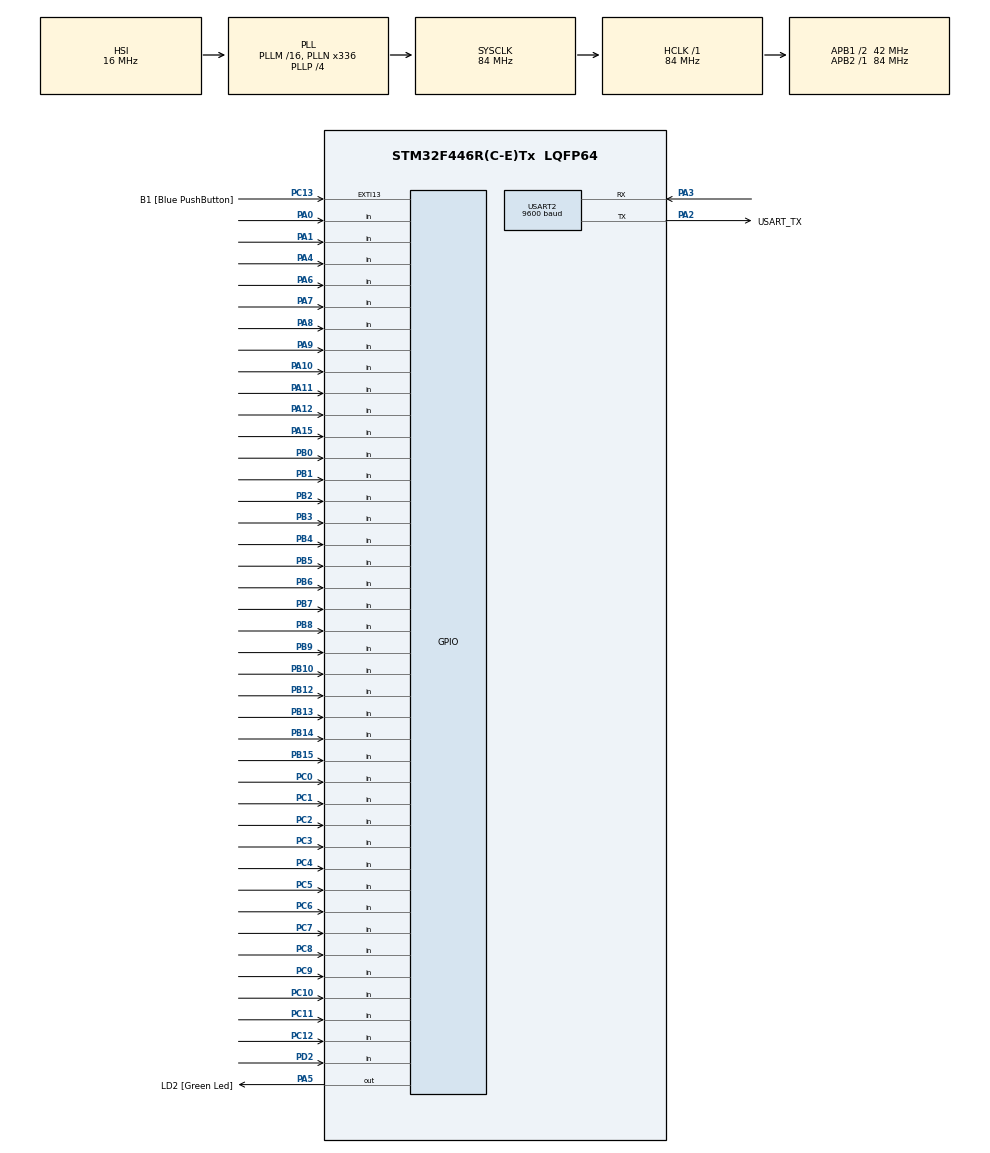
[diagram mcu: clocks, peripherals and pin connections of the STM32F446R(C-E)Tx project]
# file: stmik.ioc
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Mcu.Family=STM32F4
Mcu.Name=STM32F446R(C-E)Tx
Mcu.Package=LQFP64
NVIC.PriorityGroup=NVIC_PRIORITYGROUP_0
NVIC.USART2_IRQn=true\:0\:0\:false\:false\:true\:true\:true
PA0-WKUP.Signal=GPIO_Input
PA1.Signal=GPIO_Input
PA10.Signal=GPIO_Input
PA11.Signal=GPIO_Input
PA12.Signal=GPIO_Input
PA13.GPIO_Label=TMS
PA13.Signal=SYS_JTMS-SWDIO
PA14.GPIO_Label=TCK
PA14.Signal=SYS_JTCK-SWCLK
PA15.Signal=GPIO_Input
PA2.GPIO_Label=USART_TX
PA2.Mode=Asynchronous
PA2.Signal=USART2_TX
PA3.Mode=Asynchronous
PA3.Signal=USART2_RX
PA4.Signal=GPIO_Input
PA5.GPIO_Label=LD2 [Green Led]
PA5.Signal=GPIO_Output
PA6.Signal=GPIO_Input
PA7.Signal=GPIO_Input
PA8.Signal=GPIO_Input
PA9.Signal=GPIO_Input
PB0.Signal=GPIO_Input
PB1.Signal=GPIO_Input
PB10.Signal=GPIO_Input
PB12.Signal=GPIO_Input
PB13.Signal=GPIO_Input
PB14.Signal=GPIO_Input
PB15.Signal=GPIO_Input
PB2.Signal=GPIO_Input
PB3.Signal=GPIO_Input
PB4.Signal=GPIO_Input
PB5.Signal=GPIO_Input
PB6.Signal=GPIO_Input
PB7.Signal=GPIO_Input
PB8.Signal=GPIO_Input
PB9.Signal=GPIO_Input
PC0.Signal=GPIO_Input
PC1.Signal=GPIO_Input
PC10.Signal=GPIO_Input
PC11.Signal=GPIO_Input
PC12.Signal=GPIO_Input
PC13.GPIO_Label=B1 [Blue PushButton]
PC13.GPIO_ModeDefaultEXTI=GPIO_MODE_IT_FALLING
PC13.Signal=GPXTI13
PC14-OSC32_IN.Signal=RCC_OSC32_IN
PC15-OSC32_OUT.Signal=RCC_OSC32_OUT
PC2.Signal=GPIO_Input
PC3.Signal=GPIO_Input
PC4.Signal=GPIO_Input
PC5.Signal=GPIO_Input
PC6.Signal=GPIO_Input
PC7.Signal=GPIO_Input
PC8.Signal=GPIO_Input
PC9.Signal=GPIO_Input
PD2.Signal=GPIO_Input
PH0-OSC_IN.Signal=RCC_OSC_IN
PH1-OSC_OUT.Signal=RCC_OSC_OUT
ProjectManager.HeapSize=0x200
ProjectManager.StackSize=0x400
ProjectManager.TargetToolchain=STM32CubeIDE
RCC.AHBFreq_Value=84000000
RCC.APB1CLKDivider=RCC_HCLK_DIV2
RCC.APB1Freq_Value=42000000
RCC.APB1TimFreq_Value=84000000
RCC.APB2Freq_Value=84000000
RCC.APB2TimFreq_Value=84000000
RCC.CortexFreq_Value=84000000
RCC.FLatency-AdvancedSettings=FLASH_LATENCY_2
RCC.HCLKFreq_Value=84000000
RCC.HSE_VALUE=8000000
RCC.HSI_VALUE=16000000
RCC.LSE_VALUE=32768
RCC.PLLN=336
RCC.PLLP=RCC_PLLP_DIV4
RCC.SYSCLKFreq_VALUE=84000000
RCC.SYSCLKSource=RCC_SYSCLKSOURCE_PLLCLK
RCC.USBFreq_Value=168000000
RCC.VCOOutputFreq_Value=336000000
USART2.BaudRate=9600
USART2.VirtualMode=VM_ASYNC
board=NUCLEO-F446RE

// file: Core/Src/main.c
/* USER CODE BEGIN Header */
/**
  ******************************************************************************
  * @file           : main.c
  * @brief          : Main program body
  ******************************************************************************
  * @attention
  *
  * <h2><center>&copy; Copyright (c) 2021 STMicroelectronics.
  * All rights reserved.</center></h2>
  *
  * This software component is licensed by ST under BSD 3-Clause license,
  * the "License"; You may not use this file except in compliance with the
  * License. You may obtain a copy of the License at:
  *                        opensource.org/licenses/BSD-3-Clause
  *
  ******************************************************************************
  */
/* USER CODE END Header */
#include "main.h"
#include "usart.h"
#include "gpio.h"

/* USER CODE BEGIN Includes */
#include "receive.h"
#include "send.h"
#include "gpio.h"
#include "readPort.h"
#include <string.h>
#include <stdlib.h>
/* USER CODE END Includes */

/* USER CODE BEGIN PV */
//uint8_t buffer[4] = "hej3";
uint8_t Rx_data[4];
uint8_t Tx_data[4];
char * option;
char * result;
char  tmp[10];
int tmp2;
/* USER CODE END PV */

void SystemClock_Config(void);
/* USER CODE BEGIN PFP */

//static UART_HandleTypeDef s_UARTHandle = UART_HandleTypeDef();
/* USER CODE END PFP */

int main(void)
{
  /* USER CODE BEGIN 1 */
//receive();
//send();
  /* USER CODE END 1 */

  /* MCU Configuration--------------------------------------------------------*/

  /* Reset of all peripherals, Initializes the Flash interface and the Systick. */
  HAL_Init();

  /* USER CODE BEGIN Init */

  void HAL_UART_RxCpltCallback(UART_HandleTypeDef *huart)
  {
    HAL_UART_Receive_IT(&huart2, Rx_data, 4);
  }

  /* USER CODE END Init */

  /* Configure the system clock */
  SystemClock_Config();

  /* Initialize all configured peripherals */
  MX_GPIO_Init();
  MX_USART2_UART_Init();

  /* Infinite loop */
  /* USER CODE BEGIN WHILE */
  while (1)
  {
	 /* tmp[0] = HAL_GPIO_ReadPin(GPIOA, GPIO_PIN_10) ? '1' : '0';

	  	  		if (tmp[0] == 1) {
	  	  					HAL_GPIO_WritePin(GPIOA, GPIO_PIN_5, GPIO_PIN_SET);
	  	  				} else {
	  	  					HAL_GPIO_WritePin(GPIOA, GPIO_PIN_5, GPIO_PIN_RESET);
	  	  				}

	  	  HAL_UART_Transmit(&huart2, tmp, 1, 100);
	  	  memset(tmp, '0', 10);*/
	  	  option = receive();
	  	  	  result = readPort(option);
	  	  //send(result);
	  	 // HAL_GPIO_TogglePin(LD2_GPIO_Port, LD2_Pin);
	  	  	//	HAL_Delay(100);
    /* USER CODE END WHILE */

  }
}

void SystemClock_Config(void)
{
  RCC_OscInitTypeDef RCC_OscInitStruct = {0};
  RCC_ClkInitTypeDef RCC_ClkInitStruct = {0};

  /** Configure the main internal regulator output voltage
  */
  __HAL_RCC_PWR_CLK_ENABLE();
  __HAL_PWR_VOLTAGESCALING_CONFIG(PWR_REGULATOR_VOLTAGE_SCALE3);
  /** Initializes the RCC Oscillators according to the specified parameters
  * in the RCC_OscInitTypeDef structure.
  */
  RCC_OscInitStruct.OscillatorType = RCC_OSCILLATORTYPE_HSI;
  RCC_OscInitStruct.HSIState = RCC_HSI_ON;
  RCC_OscInitStruct.HSICalibrationValue = RCC_HSICALIBRATION_DEFAULT;
  RCC_OscInitStruct.PLL.PLLState = RCC_PLL_ON;
  RCC_OscInitStruct.PLL.PLLSource = RCC_PLLSOURCE_HSI;
  RCC_OscInitStruct.PLL.PLLM = 16;
  RCC_OscInitStruct.PLL.PLLN = 336;
  RCC_OscInitStruct.PLL.PLLP = RCC_PLLP_DIV4;
  RCC_OscInitStruct.PLL.PLLQ = 2;
  RCC_OscInitStruct.PLL.PLLR = 2;
  if (HAL_RCC_OscConfig(&RCC_OscInitStruct) != HAL_OK)
  {
    Error_Handler();
  }
  /** Initializes the CPU, AHB and APB buses clocks
  */
  RCC_ClkInitStruct.ClockType = RCC_CLOCKTYPE_HCLK|RCC_CLOCKTYPE_SYSCLK
                              |RCC_CLOCKTYPE_PCLK1|RCC_CLOCKTYPE_PCLK2;
  RCC_ClkInitStruct.SYSCLKSource = RCC_SYSCLKSOURCE_PLLCLK;
  RCC_ClkInitStruct.AHBCLKDivider = RCC_SYSCLK_DIV1;
  RCC_ClkInitStruct.APB1CLKDivider = RCC_HCLK_DIV2;
  RCC_ClkInitStruct.APB2CLKDivider = RCC_HCLK_DIV1;

  if (HAL_RCC_ClockConfig(&RCC_ClkInitStruct, FLASH_LATENCY_2) != HAL_OK)
  {
    Error_Handler();
  }
}

void Error_Handler(void)
{
  __disable_irq();
  while (1)
  {
  }
}

/************************ (C) COPYRIGHT STMicroelectronics *****END OF FILE****/
